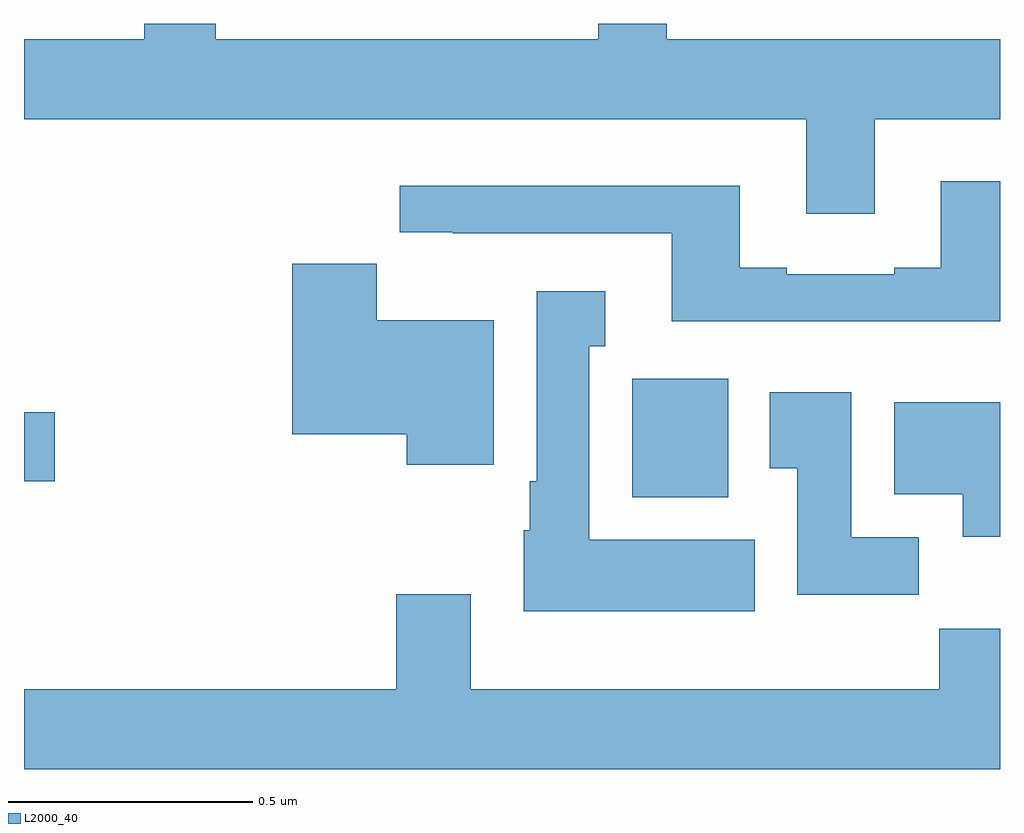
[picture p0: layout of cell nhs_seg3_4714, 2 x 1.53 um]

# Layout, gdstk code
import gdstk
lib = gdstk.Library(unit=1e-6, precision=1e-09)
def R(c, l, rs):  # rectangles x0, y0, x1, y1
    for r in rs: c.add(gdstk.rectangle(r[:2], r[2:], *l))
def P(c, l, *ps):  # polygons
    for p in ps: c.add(gdstk.Polygon(p, *l))
L2000_40 = (2000, 40)

nhs_seg3_4714 = lib.new_cell('nhs_seg3_4714')
R(nhs_seg3_4714, L2000_40, [(170.246,745.43,170.443,745.672), (169,745.462,169.063,745.604)])
P(nhs_seg3_4714, L2000_40, [(170.743,746.204),(171,746.204),(171,746.368),(170.317,746.368),(170.317,746.4),(170.177,746.4),(170.177,746.368),(169.393,746.368),(169.393,746.4),(169.246,746.4),(169.246,746.368),(169,746.368),(169,746.204),(170.603,746.204),(170.603,746.01),(170.743,746.01)],
  [(171,746.077),(170.879,746.077),(170.879,745.9),(170.783,745.9),(170.783,745.887),(170.563,745.887),(170.563,745.9),(170.467,745.9),(170.467,746.068),(169.77,746.068),(169.77,745.973),(169.879,745.973),(169.879,745.971),(170.327,745.971),(170.327,745.79),(171,745.79)],
  [(169.963,745.792),(169.723,745.792),(169.723,745.908),(169.55,745.908),(169.55,745.559),(169.784,745.559),(169.784,745.496),(169.963,745.496)],
  [(170.497,745.342),(170.158,745.342),(170.158,745.739),(170.191,745.739),(170.191,745.852),(170.051,745.852),(170.051,745.462),(170.036,745.462),(170.036,745.362),(170.024,745.362),(170.024,745.196),(170.497,745.196)],
  [(170.834,745.348),(170.695,745.348),(170.695,745.645),(170.528,745.645),(170.528,745.489),(170.585,745.489),(170.585,745.23),(170.834,745.23)],
  [(171,745.624),(170.783,745.624),(170.783,745.436),(170.924,745.436),(170.924,745.349),(171,745.349)],
  [(171,745.16),(170.875,745.16),(170.875,745.036),(169.915,745.036),(169.915,745.231),(169.763,745.231),(169.763,745.036),(169,745.036),(169,744.872),(171,744.872)])

lib.write_gds('nhs_seg3_4714.gds')
